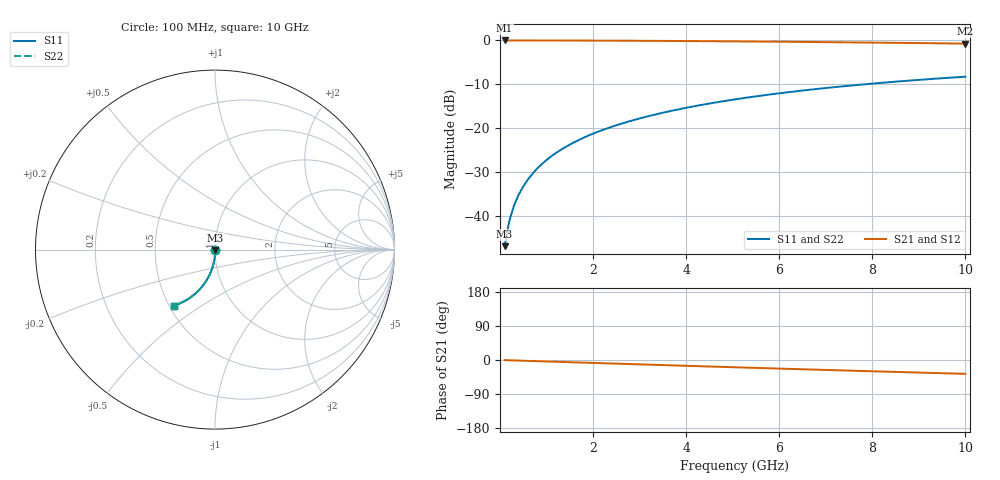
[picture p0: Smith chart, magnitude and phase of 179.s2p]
# Hz S RI R 50.00
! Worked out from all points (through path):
!   100 points, 100 MHz to 10 GHz, reference 50 ohm
!   highest |S21| = -0.01 dB at 100 MHz (marker M1); lowest = -0.7 dB at 10 GHz (marker M2)
!   group delay of S21, straight-line fit = 10.2 ps
!   lowest |S11| = -46.7 dB at 100 MHz (marker M3), VSWR 1.01, Z = 50.1 - j0.44 ohm
!   |S11| at or under -10 dB: start of sweep to 7.807 GHz
!   |S22| runs from -46.7 to -8.2 dB; largest |S21 - S12| = 0
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1e8  0.00138 -0.00439  0.9986 -0.00672  0.9986 -0.00672  0.00138 -0.00439
2e8  0.00129 -0.00878  0.9984 -0.0134  0.9984 -0.0134  0.00129 -0.00878
3e8  0.00115 -0.0132  0.9983 -0.0202  0.9983 -0.0202  0.00115 -0.0132
4e8  0.00094 -0.0175  0.998 -0.0269  0.998 -0.0269  0.00094 -0.0175
5e8  0.000674 -0.0219  0.9977 -0.0336  0.9977 -0.0336  0.000674 -0.0219
6e8  0.00035 -0.0263  0.9974 -0.0403  0.9974 -0.0403  0.00035 -0.0263
7e8  -3.44e-05 -0.0307  0.9969 -0.047  0.9969 -0.047  -3.44e-05 -0.0307
8e8  -0.000477 -0.035  0.9964 -0.0537  0.9964 -0.0537  -0.000477 -0.035
9e8  -0.000979 -0.0394  0.9959 -0.0604  0.9959 -0.0604  -0.000979 -0.0394
1.1e9  -0.00216 -0.0481  0.9946 -0.0737  0.9946 -0.0737  -0.00216 -0.0481
1.4e9  -0.00436 -0.061  0.9922 -0.0936  0.9922 -0.0936  -0.00436 -0.061
1.8e9  -0.00809 -0.0781  0.9881 -0.12  0.9881 -0.12  -0.00809 -0.0781
2.1e9  -0.0115 -0.0907  0.9843 -0.1397  0.9843 -0.1397  -0.0115 -0.0907
2.5e9  -0.0168 -0.1073  0.9785 -0.1656  0.9785 -0.1656  -0.0168 -0.1073
2.9e9  -0.0229 -0.1235  0.9718 -0.1911  0.9718 -0.1911  -0.0229 -0.1235
3.4e9  -0.0317 -0.1431  0.9621 -0.2225  0.9621 -0.2225  -0.0317 -0.1431
4.2e9  -0.0483 -0.173  0.9438 -0.2711  0.9438 -0.2711  -0.0483 -0.173
5.1e9  -0.0703 -0.204  0.9194 -0.3232  0.9194 -0.3232  -0.0703 -0.204
5.9e9  -0.0924 -0.2289  0.8948 -0.3668  0.8948 -0.3668  -0.0924 -0.2289
6.7e9  -0.1166 -0.251  0.8678 -0.4078  0.8678 -0.4078  -0.1166 -0.251
8.4e9  -0.1728 -0.2886  0.8042 -0.4856  0.8042 -0.4856  -0.1728 -0.2886
1e10  -0.2293 -0.3119  0.7391 -0.5471  0.7391 -0.5471  -0.2293 -0.3119
